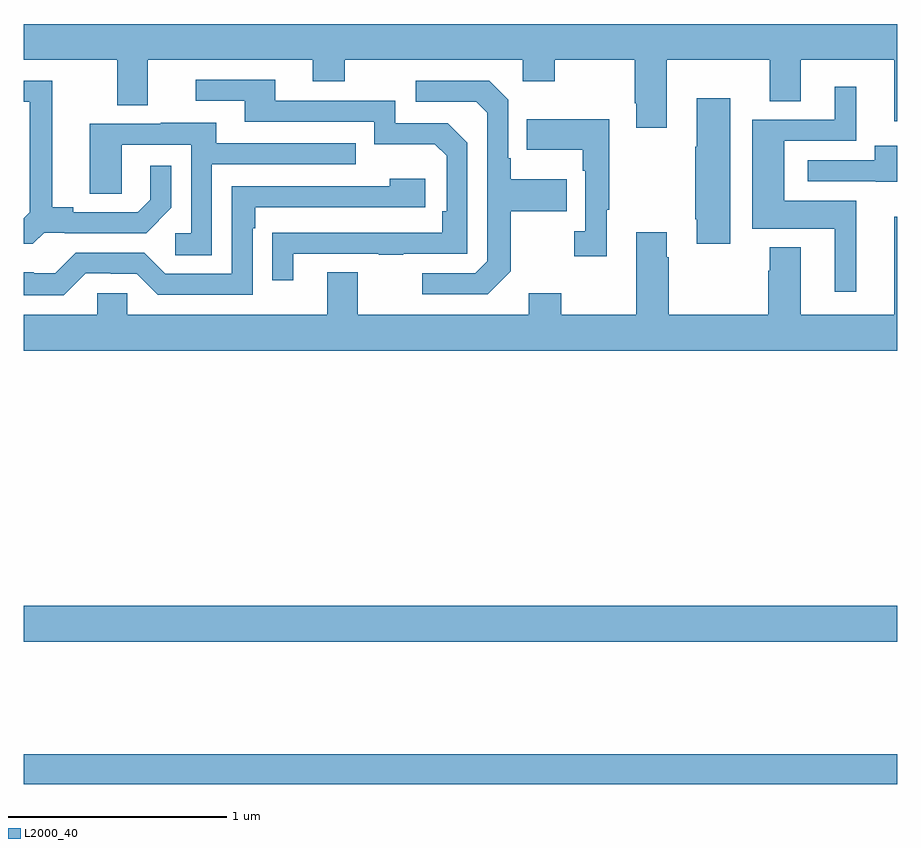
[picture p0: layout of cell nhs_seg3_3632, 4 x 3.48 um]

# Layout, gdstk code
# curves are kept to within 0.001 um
import gdstk
lib = gdstk.Library(unit=1e-6, precision=1e-09)
def R(c, l, rs):  # rectangles x0, y0, x1, y1
    for r in rs: c.add(gdstk.rectangle(r[:2], r[2:], *l))
def P(c, l, *ps):  # polygons
    for p in ps: c.add(gdstk.Polygon(p, *l))
L2000_40 = (2000, 40)

nhs_seg3_3632 = lib.new_cell('nhs_seg3_3632')
R(nhs_seg3_3632, L2000_40, [(299,714.916,303,715.052), (299,715.568,303,715.732)])
P(nhs_seg3_3632, L2000_40, [(301.945,718.232),(302.417,718.232),(302.417,718.042),(302.557,718.042),(302.557,718.232),(302.987,718.232),(302.987,717.951),(303,717.951),(303,718.396),(299,718.396),(299,718.232),(299.429,718.232),(299.429,718.024),(299.569,718.024),(299.569,718.232),(300.323,718.232),(300.323,718.133),(300.471,718.133),(300.471,718.232),(301.284,718.232),(301.284,718.133),(301.431,718.133),(301.431,718.232),(301.798,718.232),(301.798,718.033),(301.805,718.033),(301.805,717.921),(301.945,717.921)],
  [(300.235,717.345),(300.625,717.345),(300.625,717.34),(300.737,717.34),(300.737,717.345),(301.032,717.345),(301.032,717.852),(300.942,717.942),(300.702,717.942),(300.702,718.044),(300.151,718.044),(300.151,718.14),(299.787,718.14),(299.787,718.044),(300.011,718.044),(300.011,717.948),(300.606,717.948),(300.606,717.845),(300.883,717.845),(300.936,717.792),(300.936,717.538),(300.916,717.538),(300.916,717.441),(300.139,717.44),(300.139,717.222),(300.235,717.222)],
  [(301.231,717.265),(301.231,717.538),(301.487,717.538),(301.487,717.685),(301.231,717.685),(301.231,717.781),(301.218,717.781),(301.218,718.05),(301.131,718.137),(300.795,718.137),(300.795,718.041),(301.071,718.041),(301.122,717.99),(301.122,717.309),(301.068,717.255),(300.825,717.255),(300.825,717.159),(301.125,717.159)],
  [(299.094,717.441),(299.188,717.441),(299.188,717.438),(299.56,717.438),(299.676,717.554),(299.676,717.748),(299.579,717.748),(299.579,717.591),(299.522,717.534),(299.227,717.534),(299.227,717.557),(299.131,717.557),(299.131,718.137),(299,718.137),(299,718.041),(299.027,718.041),(299.027,717.533),(299,717.506),(299,717.389),(299.042,717.389)],
  [(302.812,717.586),(302.482,717.586),(302.482,717.861),(302.812,717.861),(302.812,718.108),(302.714,718.108),(302.714,717.957),(302.336,717.957),(302.336,717.458),(302.714,717.458),(302.714,717.171),(302.812,717.171)],
  [(302.236,718.057),(302.081,718.057),(302.081,717.833),(302.074,717.833),(302.074,717.502),(302.081,717.502),(302.081,717.39),(302.236,717.39)],
  [(301.669,717.545),(301.681,717.545),(301.681,717.961),(301.303,717.961),(301.303,717.821),(301.56,717.821),(301.56,717.725),(301.572,717.725),(301.572,717.446),(301.521,717.446),(301.521,717.333),(301.669,717.333)],
  [(299.862,717.753),(300.521,717.753),(300.521,717.849),(299.881,717.849),(299.881,717.943),(299.627,717.943),(299.627,717.939),(299.303,717.939),(299.303,717.619),(299.448,717.619),(299.448,717.843),(299.766,717.843),(299.766,717.438),(299.694,717.438),(299.694,717.337),(299.862,717.337)],
  [(303,717.838),(302.897,717.838),(302.897,717.771),(302.589,717.771),(302.589,717.675),(302.901,717.675),(302.901,717.674),(303,717.674)],
  [(299.283,717.255),(299.399,717.255),(299.399,717.252),(299.517,717.252),(299.613,717.156),(300.048,717.156),(300.048,717.461),(300.061,717.461),(300.061,717.558),(300.838,717.558),(300.838,717.688),(300.677,717.688),(300.677,717.654),(299.952,717.654),(299.952,717.252),(299.649,717.252),(299.553,717.348),(299.238,717.348),(299.145,717.255),(299.045,717.255),(299.045,717.259),(299,717.259),(299,717.155),(299.183,717.155)],
  [(303,717.514),(302.987,717.514),(302.987,717.064),(302.557,717.064),(302.557,717.373),(302.417,717.373),(302.417,717.266),(302.41,717.266),(302.41,717.064),(301.953,717.064),(301.953,717.329),(301.945,717.329),(301.945,717.442),(301.805,717.442),(301.805,717.064),(301.461,717.064),(301.461,717.163),(301.313,717.163),(301.313,717.064),(300.529,717.064),(300.529,717.259),(300.389,717.259),(300.389,717.064),(299.475,717.064),(299.475,717.162),(299.337,717.162),(299.337,717.064),(299,717.064),(299,716.9),(303,716.9)])

lib.write_gds('nhs_seg3_3632.gds')
